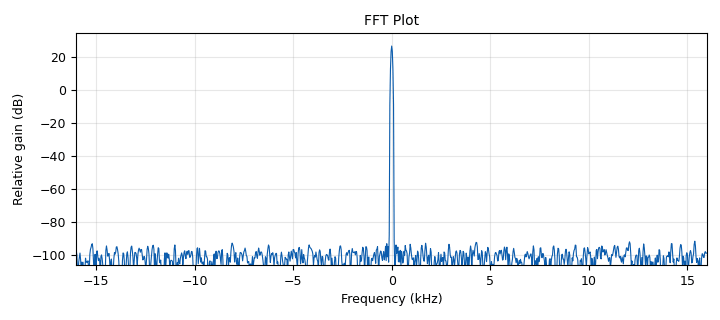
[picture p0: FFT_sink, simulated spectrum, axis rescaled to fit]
<?xml version='1.0' encoding='utf-8'?>
<?grc format='1' created='3.7.11'?>
<flow_graph>
<block>
<key>options</key>
<param><key>id</key><value>top_block</value></param>
<param><key>generate_options</key><value>wx_gui</value></param>
</block>
<block>
<key>variable_text_box</key>
<param><key>id</key><value>freq</value></param>
<param><key>converver</key><value>float_converter</value></param>
<param><key>value</key><value>1000</value></param>
<param><key>formatter</key><value>None</value></param>
<param><key>grid_pos</key><value>4,1,1,1</value></param>
<param><key>label</key><value>frecuencua</value></param>
</block>
<block>
<key>variable_text_box</key>
<param><key>id</key><value>noise_amp</value></param>
<param><key>converver</key><value>float_converter</value></param>
<param><key>value</key><value>-70</value></param>
<param><key>formatter</key><value>None</value></param>
<param><key>grid_pos</key><value>4,2,1,1</value></param>
<param><key>label</key><value>noise_amp</value></param>
</block>
<block>
<key>variable</key>
<param><key>id</key><value>samp_rate</value></param>
<param><key>value</key><value>32000</value></param>
</block>
<block>
<key>variable_static_text</key>
<param><key>id</key><value>signal_amp</value></param>
<param><key>converver</key><value>float_converter</value></param>
<param><key>value</key><value>30</value></param>
<param><key>formatter</key><value>None</value></param>
<param><key>grid_pos</key><value>4,3,1,1</value></param>
<param><key>label</key><value>signal Amp</value></param>
</block>
<block>
<key>wxgui_fftsink2</key>
<param><key>id</key><value>FFT_sink</value></param>
<param><key>avg_alpha</key><value>0</value></param>
<param><key>average</key><value>False</value></param>
<param><key>baseband_freq</key><value>0</value></param>
<param><key>fft_size</key><value>1024</value></param>
<param><key>freqvar</key><value>None</value></param>
<param><key>grid_pos</key><value>1,1,3,3</value></param>
<param><key>peak_hold</key><value>False</value></param>
<param><key>ref_level</key><value>0</value></param>
<param><key>ref_scale</key><value>2</value></param>
<param><key>fft_rate</key><value>15</value></param>
<param><key>samp_rate</key><value>32000</value></param>
<param><key>title</key><value>FFT Plot</value></param>
<param><key>type</key><value>complex</value></param>
<param><key>win</key><value>None</value></param>
<param><key>y_divs</key><value>10</value></param>
<param><key>y_per_div</key><value>10</value></param>
</block>
<block>
<key>analog_noise_source_x</key>
<param><key>id</key><value>analog_noise_source_x_0</value></param>
<param><key>amp</key><value>10.0**(1.0*noise_amp / 20.0)</value></param>
<param><key>noise_type</key><value>analog.GR_GAUSSIAN</value></param>
<param><key>type</key><value>complex</value></param>
<param><key>seed</key><value>0</value></param>
</block>
<block>
<key>analog_sig_source_x</key>
<param><key>id</key><value>analog_sig_source_x_0</value></param>
<param><key>amp</key><value>signal_amp</value></param>
<param><key>freq</key><value>1000</value></param>
<param><key>offset</key><value>0</value></param>
<param><key>type</key><value>complex</value></param>
<param><key>samp_rate</key><value>freq</value></param>
<param><key>waveform</key><value>analog.GR_COS_WAVE</value></param>
</block>
<block>
<key>blocks_add_xx</key>
<param><key>id</key><value>blocks_add_xx_0</value></param>
<param><key>type</key><value>complex</value></param>
</block>
<block>
<key>blocks_throttle</key>
<param><key>id</key><value>blocks_throttle_0</value></param>
<param><key>samples_per_second</key><value>samp_rate</value></param>
<param><key>type</key><value>complex</value></param>
</block>
<connection><source_block_id>analog_noise_source_x_0</source_block_id><sink_block_id>blocks_add_xx_0</sink_block_id><source_key>0</source_key><sink_key>1</sink_key></connection>
<connection><source_block_id>analog_sig_source_x_0</source_block_id><sink_block_id>blocks_add_xx_0</sink_block_id><source_key>0</source_key><sink_key>0</sink_key></connection>
<connection><source_block_id>blocks_add_xx_0</source_block_id><sink_block_id>blocks_throttle_0</sink_block_id><source_key>0</source_key><sink_key>0</sink_key></connection>
<connection><source_block_id>blocks_throttle_0</source_block_id><sink_block_id>FFT_sink</sink_block_id><source_key>0</source_key><sink_key>0</sink_key></connection>
</flow_graph>
